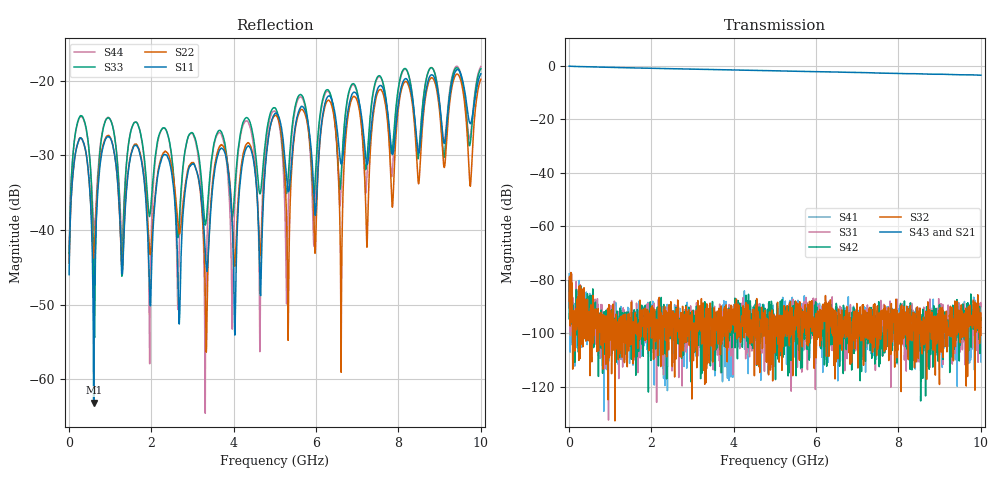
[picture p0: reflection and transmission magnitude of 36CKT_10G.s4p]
!Agilent Technologies,N5224A,MY51441544,A.10.00.00
!Agilent N5224A: A.10.00.00
!Date: Wednesday, July 15, 2015 09:54:20
!Correction: S11(Full 4 Port(1,2,3,4))
!S12(Full 4 Port(1,2,3,4))
!S13(Full 4 Port(1,2,3,4))
!S14(Full 4 Port(1,2,3,4))
!S21(Full 4 Port(1,2,3,4))
!S22(Full 4 Port(1,2,3,4))
!S23(Full 4 Port(1,2,3,4))
!S24(Full 4 Port(1,2,3,4))
!S31(Full 4 Port(1,2,3,4))
!S32(Full 4 Port(1,2,3,4))
!S33(Full 4 Port(1,2,3,4))
!S34(Full 4 Port(1,2,3,4))
!S41(Full 4 Port(1,2,3,4))
!S42(Full 4 Port(1,2,3,4))
!S43(Full 4 Port(1,2,3,4))
!S44(Full 4 Port(1,2,3,4))
!S4P File: Measurements: <S11,S12,S13,S14>,
!<S21,S22,S23,S24>,
!<S31,S32,S33,S34>,
!<S41,S42,S43,S44>:
# Hz S  RI  R 50
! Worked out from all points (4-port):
!   1601 points, 10 MHz to 10 GHz, reference 50 ohm
!   strongest paths, dB at 10 MHz, 2.507 GHz, 5.005 GHz, 7.503 GHz, 10 GHz:
!     S43: 0.0, -1.0, -1.8, -2.6, -3.4
!     S21: 0.0, -1.0, -1.8, -2.7, -3.5
!     S32: -88.1, -94.9, -100.2, -98.6, -92.5
!     S42: -80.5, -93.6, -95.0, -91.5, -95.1
!     S31: -83.3, -114.1, -93.5, -96.9, -90.1
!     S41: -77.8, -96.2, -103.3, -101.3, -110.8
!   lowest |S11| = -63.1 dB at 609.4 MHz (marker M1), VSWR 1.00, Z = 50 + j0.0698 ohm
!   |S11| at or under -10 dB: start of sweep to end of sweep
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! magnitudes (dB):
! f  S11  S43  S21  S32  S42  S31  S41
! 10 MHz  -46.0  0.0  0.0  -88.1  -80.5  -83.3  -77.8
! 609.4 MHz  -63.1  -0.3  -0.3  -91.4  -105.3  -91.0  -97.8
! 940.3 MHz  -27.5  -0.5  -0.5  -93.3  -95.3  -94.9  -96.6
! 3.313 GHz  -43.0  -1.2  -1.3  -97.5  -97.5  -92.4  -95.2
! 3.631 GHz  -29.7  -1.3  -1.4  -97.1  -93.3  -101.0  -94.0
! 4.637 GHz  -46.2  -1.6  -1.7  -114.8  -95.0  -94.7  -90.2
! 10 GHz  -19.1  -3.4  -3.5  -92.5  -95.1  -90.1  -110.8
